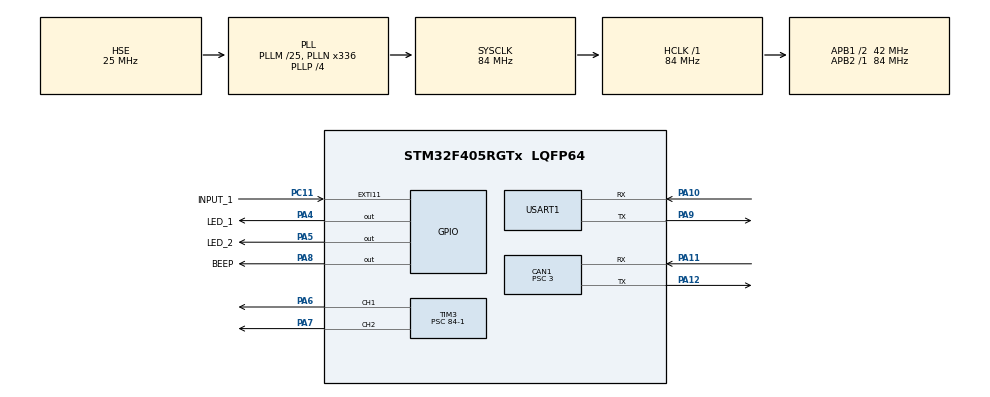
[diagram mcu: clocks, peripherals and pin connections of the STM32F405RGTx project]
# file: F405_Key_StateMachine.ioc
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CAN1.ABOM=ENABLE
CAN1.AWUM=ENABLE
CAN1.BS1=CAN_BS1_9TQ
CAN1.BS2=CAN_BS2_4TQ
CAN1.CalculateBaudRate=1000000
CAN1.CalculateTimeBit=1000
CAN1.CalculateTimeQuantum=71.42857142857143
CAN1.NART=ENABLE
CAN1.Prescaler=3
Dma.Request0=USART1_RX
Dma.Request1=USART1_TX
Dma.USART1_RX.0.Direction=DMA_PERIPH_TO_MEMORY
Dma.USART1_RX.0.FIFOMode=DMA_FIFOMODE_DISABLE
Dma.USART1_RX.0.Instance=DMA2_Stream2
Dma.USART1_RX.0.MemDataAlignment=DMA_MDATAALIGN_BYTE
Dma.USART1_RX.0.MemInc=DMA_MINC_ENABLE
Dma.USART1_RX.0.Mode=DMA_NORMAL
Dma.USART1_RX.0.PeriphDataAlignment=DMA_PDATAALIGN_BYTE
Dma.USART1_RX.0.PeriphInc=DMA_PINC_DISABLE
Dma.USART1_RX.0.Priority=DMA_PRIORITY_LOW
Dma.USART1_TX.1.Direction=DMA_MEMORY_TO_PERIPH
Dma.USART1_TX.1.FIFOMode=DMA_FIFOMODE_DISABLE
Dma.USART1_TX.1.Instance=DMA2_Stream7
Dma.USART1_TX.1.MemDataAlignment=DMA_MDATAALIGN_BYTE
Dma.USART1_TX.1.MemInc=DMA_MINC_ENABLE
Dma.USART1_TX.1.Mode=DMA_NORMAL
Dma.USART1_TX.1.PeriphDataAlignment=DMA_PDATAALIGN_BYTE
Dma.USART1_TX.1.PeriphInc=DMA_PINC_DISABLE
Dma.USART1_TX.1.Priority=DMA_PRIORITY_LOW
FREERTOS.Tasks01=heartbeatTask,24,128,StartDefaultTask,Default,NULL,Dynamic,NULL,NULL
Mcu.Family=STM32F4
Mcu.Name=STM32F405RGTx
Mcu.Package=LQFP64
NVIC.CAN1_RX0_IRQn=true\:5\:0\:true\:false\:true\:true\:true\:true\:true
NVIC.CAN1_RX1_IRQn=true\:5\:0\:true\:false\:true\:true\:true\:true\:true
NVIC.CAN1_TX_IRQn=true\:5\:0\:true\:false\:true\:true\:true\:true\:true
NVIC.DMA2_Stream2_IRQn=true\:5\:0\:false\:false\:true\:true\:false\:true\:true
NVIC.DMA2_Stream7_IRQn=true\:5\:0\:false\:false\:true\:true\:false\:true\:true
NVIC.EXTI15_10_IRQn=true\:5\:0\:true\:false\:true\:true\:true\:true\:true
NVIC.PriorityGroup=NVIC_PRIORITYGROUP_4
NVIC.TIM1_UP_TIM10_IRQn=true\:15\:0\:false\:false\:true\:false\:false\:true\:true
NVIC.TIM2_IRQn=true\:5\:0\:true\:false\:true\:true\:true\:true\:true
NVIC.TimeBase=TIM1_UP_TIM10_IRQn
NVIC.TimeBaseIP=TIM1
NVIC.USART1_IRQn=true\:5\:0\:true\:false\:true\:true\:true\:true\:true
PA10.GPIO_ModeDefaultPP=GPIO_MODE_AF_PP
PA10.GPIO_PuPd=GPIO_PULLUP
PA10.Mode=Asynchronous
PA10.Signal=USART1_RX
PA11.Mode=CAN_Activate
PA11.Signal=CAN1_RX
PA12.Mode=CAN_Activate
PA12.Signal=CAN1_TX
PA4.GPIO_Label=LED_1
PA4.GPIO_PuPd=GPIO_PULLDOWN
PA4.Signal=GPIO_Output
PA5.GPIO_Label=LED_2
PA5.GPIO_PuPd=GPIO_PULLDOWN
PA5.Signal=GPIO_Output
PA6.Signal=S_TIM3_CH1
PA7.Signal=S_TIM3_CH2
PA8.GPIO_Label=BEEP
PA8.GPIO_PuPd=GPIO_PULLDOWN
PA8.Signal=GPIO_Output
PA9.Mode=Asynchronous
PA9.Signal=USART1_TX
PC11.GPIO_Label=INPUT_1
PC11.GPIO_PuPd=GPIO_PULLDOWN
PC11.Signal=GPXTI11
PH0-OSC_IN.Mode=HSE-External-Oscillator
PH0-OSC_IN.Signal=RCC_OSC_IN
PH1-OSC_OUT.Mode=HSE-External-Oscillator
PH1-OSC_OUT.Signal=RCC_OSC_OUT
ProjectManager.HeapSize=0x200
ProjectManager.StackSize=0x400
ProjectManager.TargetToolchain=MDK-ARM V5.32
RCC.48MHZClocksFreq_Value=84000000
RCC.AHBFreq_Value=84000000
RCC.APB1CLKDivider=RCC_HCLK_DIV2
RCC.APB1Freq_Value=42000000
RCC.APB1TimFreq_Value=84000000
RCC.APB2Freq_Value=84000000
RCC.APB2TimFreq_Value=84000000
RCC.CortexFreq_Value=84000000
RCC.HCLKFreq_Value=84000000
RCC.HSE_VALUE=25000000
RCC.HSI_VALUE=16000000
RCC.LSE_VALUE=32768
RCC.PLLM=25
RCC.PLLN=336
RCC.PLLP=RCC_PLLP_DIV4
RCC.PLLSourceVirtual=RCC_PLLSOURCE_HSE
RCC.SYSCLKFreq_VALUE=84000000
RCC.SYSCLKSource=RCC_SYSCLKSOURCE_PLLCLK
RCC.VCOOutputFreq_Value=336000000
SH.S_TIM3_CH1.0=TIM3_CH1,PWM Generation1 CH1
SH.S_TIM3_CH2.0=TIM3_CH2,PWM Generation2 CH2
TIM2.Period=2000-1
TIM2.Prescaler=84-1
TIM3.AutoReloadPreload=TIM_AUTORELOAD_PRELOAD_ENABLE
TIM3.Channel-PWM\ Generation1\ CH1=TIM_CHANNEL_1
TIM3.Channel-PWM\ Generation2\ CH2=TIM_CHANNEL_2
TIM3.Period=1000-1
TIM3.Prescaler=84-1
USART1.VirtualMode=VM_ASYNC
VP_FREERTOS_VS_CMSIS_V2.Mode=CMSIS_V2
VP_SYS_VS_tim1.Mode=TIM1
VP_TIM2_VS_ClockSourceINT.Mode=Internal
VP_TIM3_VS_ClockSourceINT.Mode=Internal
board=custom

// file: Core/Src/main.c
/* USER CODE BEGIN Header */
/**
 ******************************************************************************
 * @file           : main.c
 * @brief          : Main program body
 ******************************************************************************
 */
/* USER CODE END Header */
#include "main.h"
#include "cmsis_os.h"
#include "can.h"
#include "dma.h"
#include "tim.h"
#include "usart.h"
#include "gpio.h"

/* USER CODE BEGIN Includes */
#include "slave_protocol.h"
/* USER CODE END Includes */

void SystemClock_Config(void);
void MX_FREERTOS_Init(void);

int main(void)
{

  /* MCU Configuration--------------------------------------------------------*/

  /* Reset of all peripherals, Initializes the Flash interface and the Systick. */
  HAL_Init();

  /* Configure the system clock */
  SystemClock_Config();

  /* Initialize all configured peripherals */
  MX_GPIO_Init();
  MX_DMA_Init();
  MX_TIM3_Init();
  MX_USART1_UART_Init();
  MX_CAN1_Init();
  MX_TIM2_Init();

  /* Init scheduler */
  osKernelInitialize();  /* Call init function for freertos objects (in cmsis_os2.c) */
  MX_FREERTOS_Init();

  /* Start scheduler */
  osKernelStart();

  /* We should never get here as control is now taken by the scheduler */

  /* Infinite loop */
  while (1)
  {

  }
}

void SystemClock_Config(void)
{
  RCC_OscInitTypeDef RCC_OscInitStruct = {0};
  RCC_ClkInitTypeDef RCC_ClkInitStruct = {0};

  /** Configure the main internal regulator output voltage
  */
  __HAL_RCC_PWR_CLK_ENABLE();
  __HAL_PWR_VOLTAGESCALING_CONFIG(PWR_REGULATOR_VOLTAGE_SCALE1);

  /** Initializes the RCC Oscillators according to the specified parameters
  * in the RCC_OscInitTypeDef structure.
  */
  RCC_OscInitStruct.OscillatorType = RCC_OSCILLATORTYPE_HSE;
  RCC_OscInitStruct.HSEState = RCC_HSE_ON;
  RCC_OscInitStruct.PLL.PLLState = RCC_PLL_ON;
  RCC_OscInitStruct.PLL.PLLSource = RCC_PLLSOURCE_HSE;
  RCC_OscInitStruct.PLL.PLLM = 25;
  RCC_OscInitStruct.PLL.PLLN = 336;
  RCC_OscInitStruct.PLL.PLLP = RCC_PLLP_DIV4;
  RCC_OscInitStruct.PLL.PLLQ = 4;
  if (HAL_RCC_OscConfig(&RCC_OscInitStruct) != HAL_OK)
  {
    Error_Handler();
  }

  /** Initializes the CPU, AHB and APB buses clocks
  */
  RCC_ClkInitStruct.ClockType = RCC_CLOCKTYPE_HCLK|RCC_CLOCKTYPE_SYSCLK
                              |RCC_CLOCKTYPE_PCLK1|RCC_CLOCKTYPE_PCLK2;
  RCC_ClkInitStruct.SYSCLKSource = RCC_SYSCLKSOURCE_PLLCLK;
  RCC_ClkInitStruct.AHBCLKDivider = RCC_SYSCLK_DIV1;
  RCC_ClkInitStruct.APB1CLKDivider = RCC_HCLK_DIV2;
  RCC_ClkInitStruct.APB2CLKDivider = RCC_HCLK_DIV1;

  if (HAL_RCC_ClockConfig(&RCC_ClkInitStruct, FLASH_LATENCY_2) != HAL_OK)
  {
    Error_Handler();
  }
}

void HAL_TIM_PeriodElapsedCallback(TIM_HandleTypeDef *htim)
{
  if (htim->Instance == TIM1)
  {
    HAL_IncTick();
  }
}

void Error_Handler(void)
{
  __disable_irq();
  while (1)
  {
  }
}

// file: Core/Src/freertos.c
/* USER CODE BEGIN Header */
/**
  ******************************************************************************
  * File Name          : freertos.c
  * Description        : Code for freertos applications
  ******************************************************************************
  * @attention
  *
  * Copyright (c) 2026 STMicroelectronics.
  * All rights reserved.
  *
  * This software is licensed under terms that can be found in the LICENSE file
  * in the root directory of this software component.
  * If no LICENSE file comes with this software, it is provided AS-IS.
  *
  ******************************************************************************
  */
/* USER CODE END Header */

#include "FreeRTOS.h"
#include "task.h"
#include "main.h"
#include "cmsis_os.h"

/* USER CODE BEGIN Includes */
#include "led.h"
#include "slave_protocol.h"

/* USER CODE END Includes */

/* USER CODE BEGIN Variables */
osThreadId_t slaveProtocolTaskHandle;
const osThreadAttr_t slaveProtocolTask_attributes = {
  .name = "slaveProtocolTask",
  .stack_size = 256 * 4,
  .priority = (osPriority_t) osPriorityAboveNormal,
};

/* USER CODE END Variables */
/* Definitions for heartbeatTask */
osThreadId_t heartbeatTaskHandle;
const osThreadAttr_t heartbeatTask_attributes = {
  .name = "heartbeatTask",
  .stack_size = 128 * 4,
  .priority = (osPriority_t) osPriorityNormal,
};

/* USER CODE BEGIN FunctionPrototypes */
void StartSlaveProtocolTask(void *argument);

/* USER CODE END FunctionPrototypes */

void StartDefaultTask(void *argument);

void MX_FREERTOS_Init(void); /* (MISRA C 2004 rule 8.1) */

void MX_FREERTOS_Init(void) {

  /* Create the thread(s) */
  /* creation of heartbeatTask */
  heartbeatTaskHandle = osThreadNew(StartDefaultTask, NULL, &heartbeatTask_attributes);

  /* USER CODE BEGIN RTOS_THREADS */
  slaveProtocolTaskHandle = osThreadNew(StartSlaveProtocolTask, NULL,
                                        &slaveProtocolTask_attributes);
  /* USER CODE END RTOS_THREADS */

}

void StartDefaultTask(void *argument)
{
  /* USER CODE BEGIN StartDefaultTask */
  /* Infinite loop */
    for (;;)
    {
        led_all_off();
        led_on(LED1_PIN);
        osDelay(250U);

        led_all_off();
        led_on(LED2_PIN);
        osDelay(250U);
    }
  /* USER CODE END StartDefaultTask */
}

/* USER CODE BEGIN Application */
void StartSlaveProtocolTask(void *argument)
{
  (void)argument;
  slave_protocol_init();

  for (;;)
  {
    slave_protocol_run();
    osDelay(1U);
  }
}

/* USER CODE END Application */
